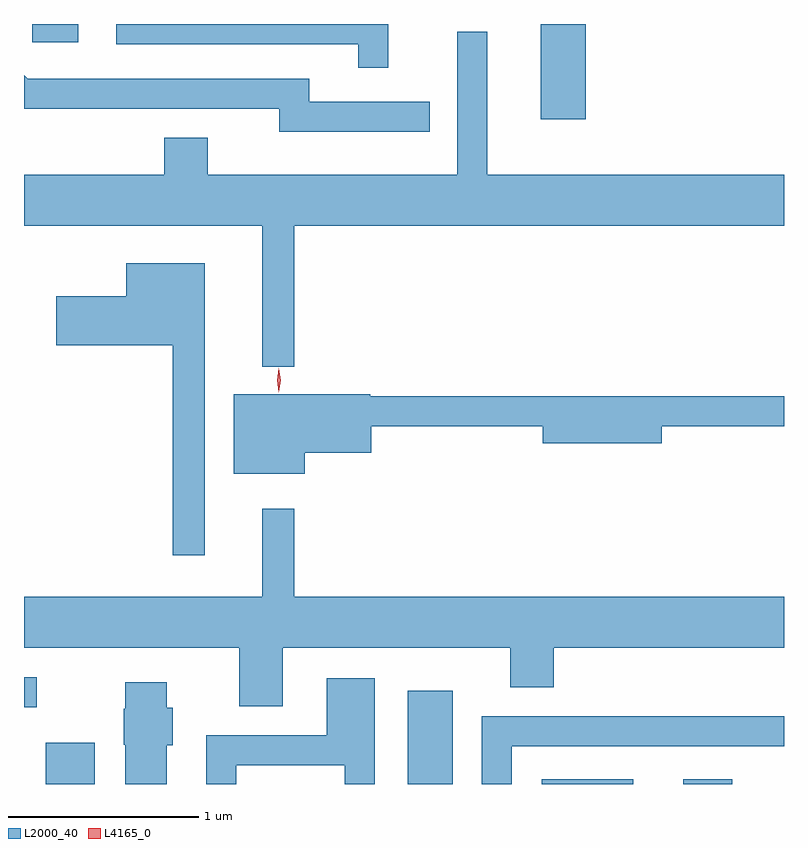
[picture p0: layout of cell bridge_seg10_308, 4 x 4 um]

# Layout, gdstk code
import gdstk
lib = gdstk.Library(unit=1e-6, precision=1e-09)
def R(c, l, rs):  # rectangles x0, y0, x1, y1
    for r in rs: c.add(gdstk.rectangle(r[:2], r[2:], *l))
def P(c, l, *ps):  # polygons
    for p in ps: c.add(gdstk.Polygon(p, *l))
L2000_40 = (2000, 40)
L4165_0 = (4165, 0)

bridge_seg10_308 = lib.new_cell('bridge_seg10_308')
R(bridge_seg10_308, L2000_40, [(1414.411,2177.578,1414.669,2177.794), (1416.316,2177.578,1416.554,2178.069), (1417.021,2177.578,1417.504,2177.604), (1417.766,2177.578,1418.024,2177.604), (1414.297,2177.981,1414.363,2178.139), (1417.016,2181.076,1417.254,2181.578), (1414.341,2181.481,1414.583,2181.578)])
P(bridge_seg10_308, L2000_40, [(1416.214,2181.578),(1414.783,2181.578),(1414.783,2181.471),(1416.056,2181.471),(1416.056,2181.348),(1416.214,2181.348)],
  [(1415.719,2180.516),(1418.297,2180.516),(1418.297,2180.784),(1416.734,2180.784),(1416.734,2181.538),(1416.576,2181.538),(1416.576,2180.784),(1415.264,2180.784),(1415.264,2180.979),(1415.036,2180.979),(1415.036,2180.784),(1414.297,2180.784),(1414.297,2180.516),(1415.551,2180.516),(1415.551,2179.773),(1415.719,2179.773)],
  [(1416.433,2181.169),(1415.799,2181.169),(1415.799,2181.289),(1414.317,2181.289),(1414.297,2181.309),(1414.297,2181.131),(1415.641,2181.131),(1415.641,2181.011),(1416.433,2181.011)],
  [(1415.249,2180.319),(1414.836,2180.319),(1414.836,2180.144),(1414.466,2180.144),(1414.466,2179.886),(1415.081,2179.886),(1415.081,2178.783),(1415.249,2178.783)],
  [(1415.774,2179.321),(1416.124,2179.321),(1416.124,2179.461),(1417.026,2179.461),(1417.026,2179.371),(1417.654,2179.371),(1417.654,2179.461),(1418.297,2179.461),(1418.297,2179.619),(1416.12,2179.619),(1416.12,2179.629),(1415.401,2179.629),(1415.401,2179.211),(1415.774,2179.211)],
  [(1415.659,2178.296),(1416.856,2178.296),(1416.856,2178.086),(1417.084,2178.086),(1417.084,2178.296),(1418.297,2178.296),(1418.297,2178.564),(1415.719,2178.564),(1415.719,2179.028),(1415.551,2179.028),(1415.551,2178.564),(1414.297,2178.564),(1414.297,2178.296),(1415.431,2178.296),(1415.431,2177.986),(1415.659,2177.986)],
  [(1415.414,2177.676),(1415.986,2177.676),(1415.986,2177.578),(1416.144,2177.578),(1416.144,2178.134),(1415.891,2178.134),(1415.891,2177.834),(1415.256,2177.834),(1415.256,2177.578),(1415.414,2177.578)],
  [(1415.049,2177.781),(1415.079,2177.781),(1415.079,2177.979),(1415.049,2177.979),(1415.049,2178.114),(1414.831,2178.114),(1414.831,2177.975),(1414.821,2177.975),(1414.821,2177.785),(1414.831,2177.785),(1414.831,2177.578),(1415.049,2177.578)],
  [(1416.864,2177.776),(1418.297,2177.776),(1418.297,2177.934),(1416.706,2177.934),(1416.706,2177.578),(1416.864,2177.578)])
P(bridge_seg10_308, L4165_0, [(1415.638,2179.641),(1415.629,2179.704),(1415.638,2179.766),(1415.639,2179.767),(1415.639,2179.766),(1415.649,2179.704),(1415.639,2179.641),(1415.639,2179.641)])

lib.write_gds('bridge_seg10_308.gds')
